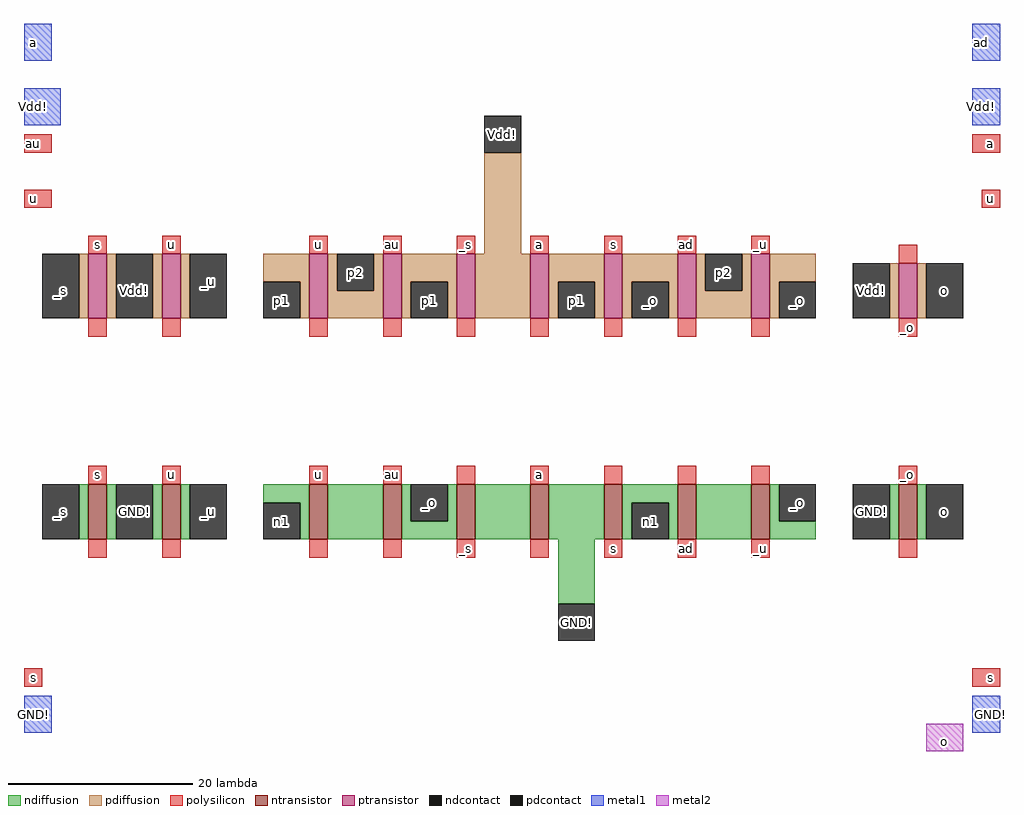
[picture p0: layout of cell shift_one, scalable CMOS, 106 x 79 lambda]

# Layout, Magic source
magic
tech scmos
<< ntransistor >>
rect -19 -21 -17 -15
rect -11 -21 -9 -15
rect 5 -21 7 -15
rect 13 -21 15 -15
rect 21 -21 23 -15
rect 29 -21 31 -15
rect 37 -21 39 -15
rect 45 -21 47 -15
rect 53 -21 55 -15
rect 69 -21 71 -15
<< ptransistor >>
rect -19 3 -17 10
rect -11 3 -9 10
rect 5 3 7 10
rect 13 3 15 10
rect 21 3 23 10
rect 29 3 31 10
rect 37 3 39 10
rect 45 3 47 10
rect 53 3 55 10
rect 69 3 71 9
<< ndiffusion >>
rect -20 -21 -19 -15
rect -17 -21 -16 -15
rect -12 -21 -11 -15
rect -9 -21 -8 -15
rect 0 -17 5 -15
rect 4 -21 5 -17
rect 7 -21 13 -15
rect 15 -19 16 -15
rect 20 -19 21 -15
rect 15 -21 21 -19
rect 23 -21 29 -15
rect 31 -21 37 -15
rect 39 -17 45 -15
rect 39 -21 40 -17
rect 44 -21 45 -17
rect 47 -21 53 -15
rect 55 -19 56 -15
rect 55 -21 60 -19
rect 68 -21 69 -15
rect 71 -21 72 -15
rect 32 -28 36 -21
<< pdiffusion >>
rect 24 10 28 21
rect -20 3 -19 10
rect -17 3 -16 10
rect -12 3 -11 10
rect -9 3 -8 10
rect 0 7 5 10
rect 4 3 5 7
rect 7 6 8 10
rect 12 6 13 10
rect 7 3 13 6
rect 15 7 21 10
rect 15 3 16 7
rect 20 3 21 7
rect 23 3 29 10
rect 31 7 37 10
rect 31 3 32 7
rect 36 3 37 7
rect 39 7 45 10
rect 39 3 40 7
rect 44 3 45 7
rect 47 6 48 10
rect 52 6 53 10
rect 47 3 53 6
rect 55 7 60 10
rect 55 3 56 7
rect 68 3 69 9
rect 71 3 72 9
<< ndcontact >>
rect -24 -21 -20 -15
rect -16 -21 -12 -15
rect -8 -21 -4 -15
rect 0 -21 4 -17
rect 16 -19 20 -15
rect 40 -21 44 -17
rect 56 -19 60 -15
rect 64 -21 68 -15
rect 72 -21 76 -15
rect 32 -32 36 -28
<< pdcontact >>
rect 24 21 28 25
rect -24 3 -20 10
rect -16 3 -12 10
rect -8 3 -4 10
rect 0 3 4 7
rect 8 6 12 10
rect 16 3 20 7
rect 32 3 36 7
rect 40 3 44 7
rect 48 6 52 10
rect 56 3 60 7
rect 64 3 68 9
rect 72 3 76 9
<< polysilicon >>
rect -26 21 -23 23
rect 77 21 80 23
rect -26 15 -23 17
rect -19 10 -17 12
rect -11 10 -9 12
rect 5 10 7 12
rect 13 10 15 12
rect 21 10 23 12
rect 78 15 80 17
rect 29 10 31 12
rect 37 10 39 12
rect 45 10 47 12
rect 53 10 55 12
rect 69 9 71 11
rect -19 1 -17 3
rect -11 1 -9 3
rect 5 1 7 3
rect 13 1 15 3
rect 21 1 23 3
rect 29 1 31 3
rect 37 1 39 3
rect 45 1 47 3
rect 53 1 55 3
rect 69 1 71 3
rect -19 -15 -17 -13
rect -11 -15 -9 -13
rect 5 -15 7 -13
rect 13 -15 15 -13
rect 21 -15 23 -13
rect 29 -15 31 -13
rect 37 -15 39 -13
rect 45 -15 47 -13
rect 53 -15 55 -13
rect 69 -15 71 -13
rect -19 -23 -17 -21
rect -11 -23 -9 -21
rect 5 -23 7 -21
rect 13 -23 15 -21
rect 21 -23 23 -21
rect 29 -23 31 -21
rect 37 -23 39 -21
rect 45 -23 47 -21
rect 53 -23 55 -21
rect 69 -23 71 -21
rect -26 -37 -24 -35
rect 77 -37 80 -35
<< metal1 >>
rect -26 31 -23 35
rect 77 31 80 35
rect -26 24 -22 28
rect 77 24 80 28
rect -26 -42 -23 -38
rect 77 -42 80 -38
<< metal2 >>
rect 72 -44 76 -41
<< labels >>
rlabel polysilicon -25 -36 -25 -36 2 s
rlabel polysilicon -25 16 -25 16 3 u
rlabel metal1 -25 -40 -25 -40 2 GND!
rlabel metal1 -25 26 -25 26 3 Vdd!
rlabel metal2 74 -43 74 -43 8 o
rlabel polysilicon -25 22 -25 22 3 au
rlabel pdcontact -14 6 -14 6 1 Vdd!
rlabel pdcontact 26 23 26 23 1 Vdd!
rlabel pdcontact 66 6 66 6 1 Vdd!
rlabel metal1 78 26 78 26 7 Vdd!
rlabel ndcontact -14 -18 -14 -18 1 GND!
rlabel ndcontact 34 -30 34 -30 1 GND!
rlabel ndcontact 66 -18 66 -18 1 GND!
rlabel metal1 79 -40 79 -40 8 GND!
rlabel polysilicon -18 -14 -18 -14 1 s
rlabel polysilicon -18 11 -18 11 1 s
rlabel polysilicon -10 11 -10 11 1 u
rlabel polysilicon -10 -14 -10 -14 1 u
rlabel ndcontact 2 -19 2 -19 1 n1
rlabel ndcontact 42 -19 42 -19 1 n1
rlabel pdcontact 2 5 2 5 1 p1
rlabel pdcontact 18 5 18 5 1 p1
rlabel pdcontact 34 5 34 5 1 p1
rlabel pdcontact 10 8 10 8 1 p2
rlabel pdcontact 50 8 50 8 1 p2
rlabel ndcontact -6 -18 -6 -18 1 _u
rlabel pdcontact -6 7 -6 7 1 _u
rlabel polysilicon 54 -22 54 -22 1 _u
rlabel polysilicon 54 11 54 11 1 _u
rlabel polysilicon 6 11 6 11 1 u
rlabel polysilicon 6 -14 6 -14 1 u
rlabel polysilicon 79 16 79 16 7 u
rlabel pdcontact -22 6 -22 6 3 _s
rlabel ndcontact -22 -18 -22 -18 3 _s
rlabel polysilicon 22 -22 22 -22 1 _s
rlabel polysilicon 22 11 22 11 1 _s
rlabel polysilicon 14 -14 14 -14 1 au
rlabel polysilicon 14 11 14 11 1 au
rlabel ndcontact 18 -17 18 -17 1 _o
rlabel ndcontact 58 -17 58 -17 1 _o
rlabel pdcontact 42 5 42 5 1 _o
rlabel pdcontact 58 5 58 5 1 _o
rlabel polysilicon 70 -14 70 -14 1 _o
rlabel polysilicon 70 2 70 2 1 _o
rlabel pdcontact 74 6 74 6 1 o
rlabel ndcontact 74 -18 74 -18 1 o
rlabel polysilicon 79 -36 79 -36 7 s
rlabel polysilicon 38 11 38 11 1 s
rlabel polysilicon 38 -22 38 -22 1 s
rlabel polysilicon 46 -22 46 -22 1 ad
rlabel polysilicon 46 11 46 11 1 ad
rlabel polysilicon 30 11 30 11 1 a
rlabel polysilicon 30 -14 30 -14 1 a
rlabel metal1 -25 33 -25 33 4 a
rlabel polysilicon 79 22 79 22 7 a
rlabel metal1 78 33 78 33 6 ad
<< end >>
